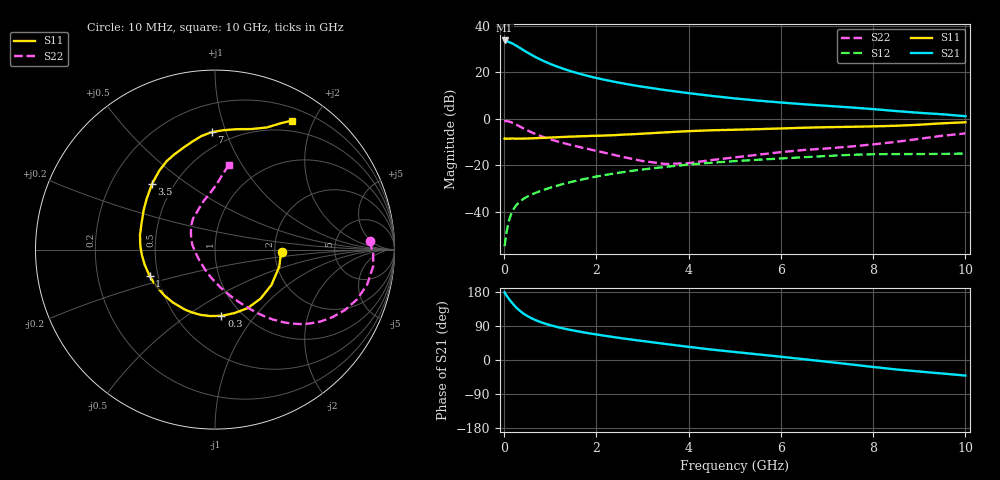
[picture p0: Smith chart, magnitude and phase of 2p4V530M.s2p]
! (c) 2009  Infineon Technologies AG, Munich
! Infineon Technologies  Discrete & RF Semiconductors
! BFP420
! VCE =  4.5 V,  IC =  30 mA
! Common Emitter S-Parameters:  Nov 2009
# GHz  S  MA  R  50
!  f  S11  S21  S12  S22
! GHz  MAG  ANG  MAG  ANG  MAG  ANG  MAG  ANG
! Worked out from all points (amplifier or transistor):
!   46 points, 10 MHz to 10 GHz, reference 50 ohm
!   highest |S21| = 33.7 dB at 10 MHz (marker M1)
!   |S21| within 3 dB of that: start of sweep to 324.8 MHz
!   unconditionally stable (mu >= 1): start of sweep to 33.3 MHz; 1.572 GHz to end of sweep
!   at 300 MHz: K = 0.48, MSG = 33.7 dB, |S12| = -36.5 dB
!   at 1.7 GHz: K = 1.02, MAG = 21.6 dB, |S12| = -26.1 dB
!   at 10 GHz: K = 1.06, MAG = 6.5 dB, |S12| = -15.1 dB
!   lowest NFmin = 1.51 dB at 900 MHz
!   S11 on the Smith chart (normalised r, x): 10 MHz: 2.18, -0.06; 300 MHz: 0.81, -0.69; 1 GHz: 0.45, -0.15; 3.5 GHz: 0.38, +0.37; 7 GHz: 0.39, +0.89; 10 GHz: 0.36, +1.70
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0.01  0.3724 -1.8  48.17 178.4  0.0018 41.5  0.8629 3.2
0.02  0.3673 -5.4  46.8 175.6  0.0021 40.4  0.8814 -1.4
0.1  0.3712 -32.0  44.82 162.0  0.0062 65.4  0.8699 -13.0
0.15  0.3728 -46.9  42.77 154.0  0.0087 65.4  0.838 -19.4
0.2  0.3734 -60.8  40.42 146.8  0.0111 64.9  0.798 -25.0
0.25  0.3699 -73.2  37.77 140.0  0.0132 63.3  0.7551 -29.9
0.3  0.3709 -84.4  35.32 134.2  0.015 61.9  0.711 -34.3
0.4  0.3723 -102.4  30.64 124.2  0.0182 59.7  0.6301 -41.2
0.45  0.3729 -110.2  28.55 120.0  0.0196 59.0  0.594 -43.9
0.5  0.374 -117.1  26.64 116.3  0.0209 58.5  0.5609 -46.4
0.6  0.3766 -128.6  23.35 109.7  0.0234 57.9  0.5044 -50.5
0.7  0.3807 -138.1  20.66 104.3  0.0257 57.8  0.4578 -53.8
0.8  0.3833 -145.7  18.43 99.6  0.028 57.7  0.4195 -56.7
1  0.3926 -158.2  15.07 91.9  0.0326 57.7  0.3592 -61.7
1.3  0.4039 -171.9  11.68 82.9  0.0397 57.5  0.2954 -68.4
1.7  0.4189 174.4  8.902 73.4  0.0493 56.2  0.2362 -77.2
2.4  0.4419 156.0  6.187 60.1  0.0664 51.7  0.1644 -95.1
3.5  0.5071 133.8  4.108 42.3  0.0917 42.3  0.1057 -144.8
5.5  0.5937 107.4  2.446 14.9  0.1304 23.7  0.1671 143.6
7  0.6547 91.6  1.886 -4.6  0.1572 9.8  0.2283 117.0
8.5  0.7024 73.0  1.456 -24.9  0.1724 -7.3  0.3168 94.8
10  0.8355 59.3  1.127 -41.1  0.1766 -18.7  0.4801 80.5
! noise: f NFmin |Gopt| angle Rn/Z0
0.9  1.51  0.26  -155  0.13
1.8  1.78  0.33  -142  0.14
2.4  1.96  0.3  -136  0.18
3  1.98  0.38  -127  0.2
4  2.11  0.47  -111  0.31
5  2.57  0.53  -94  0.51
6  3  0.57  -82  0.74
